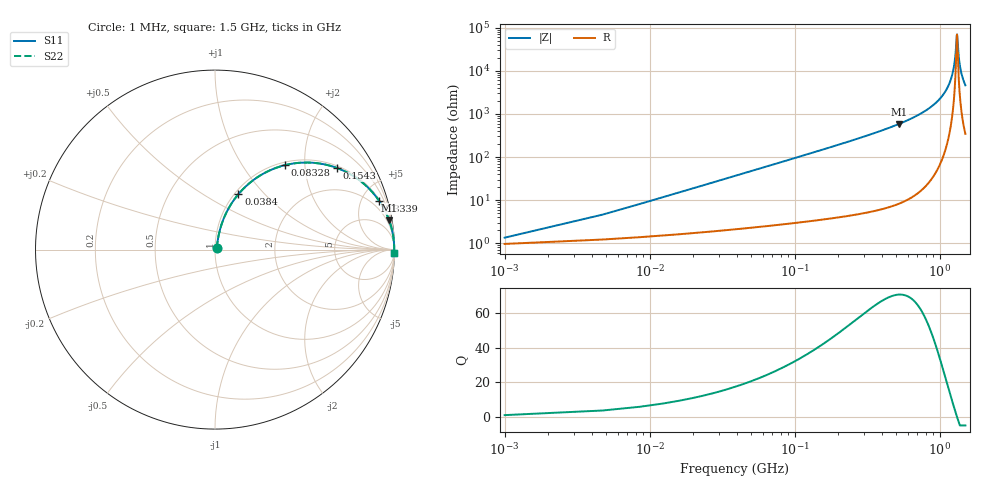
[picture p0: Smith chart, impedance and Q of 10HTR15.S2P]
! Coilcraft 1008HT-R15 Chip Inductor
! 16 July 2002
# MHZ S MA R 50
!Freq  MagS11  AngS11  MagS21  AngS21  MagS12  AngS12  MagS22  AngS22
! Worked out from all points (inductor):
!   402 points, 1 MHz to 1.5 GHz, reference 50 ohm
!   read as one part in series: L = 150 nH near 8.48 MHz
!   highest Q = 70.7 at 524.6 MHz (marker M1), where L = 179 nH
!   self-resonance near 1.31 GHz
!   S11 on the Smith chart (normalised r, x): 1 MHz: 1.02, +0.02; 38.4 MHz: 1.04, +0.72; 83.28 MHz: 1.06, +1.58; 154.3 MHz: 1.07, +2.95; 333.9 MHz: 1.11, +6.73; 1.5 GHz: 8, -92
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1  0.01338 43.7  0.9904 -0.5  0.9904 -0.5  0.01338 43.7
12.22  0.1137 76.0  0.9788 -6.5  0.9788 -6.5  0.1137 76.0
15.96  0.1473 75.4  0.9734 -8.4  0.9734 -8.4  0.1473 75.4
27.18  0.2446 71.7  0.9518 -14.1  0.9518 -14.1  0.2446 71.7
38.4  0.3349 67.1  0.923 -19.5  0.923 -19.5  0.3349 67.1
83.28  0.6089 50.5  0.7722 -37.5  0.7722 -37.5  0.6089 50.5
154.34  0.8187 33.7  0.5549 -54.9  0.5549 -54.9  0.8187 33.7
251.58  0.9206 22.0  0.374 -67.0  0.374 -67.0  0.9206 22.0
333.86  0.9544 16.5  0.2837 -72.6  0.2837 -72.6  0.9544 16.5
502.16  0.9817 10.2  0.1771 -79.0  0.1771 -79.0  0.9817 10.2
524.6  0.9836 9.6  0.1672 -79.6  0.1672 -79.6  0.9836 9.6
752.74  0.994 5.4  0.09404 -83.7  0.09404 -83.7  0.994 5.4
1003.32  0.9977 2.5  0.04389 -85.8  0.04389 -85.8  0.9977 2.5
1160.4  0.9985 1.1  0.02 -85.0  0.02 -85.0  0.9985 1.1
1253.9  0.9986 0.4  0.007533 -79.0  0.007533 -79.0  0.9986 0.4
1276.34  0.9986 0.3  0.004751 -72.6  0.004751 -72.6  0.9986 0.3
1306.26  0.9986 0.0  0.001632 -29.3  0.001632 -29.3  0.9986 0.0
1313.74  0.9986 -0.0  0.001435 4.9  0.001435 4.9  0.9986 -0.0
1347.4  0.9985 -0.2  0.004451 70.6  0.004451 70.6  0.9985 -0.2
1381.06  0.9985 -0.5  0.008324 79.2  0.008324 79.2  0.9985 -0.5
1433.42  0.9984 -0.8  0.01429 83.0  0.01429 83.0  0.9984 -0.8
1500  0.9982 -1.2  0.02163 84.5  0.02163 84.5  0.9982 -1.2
